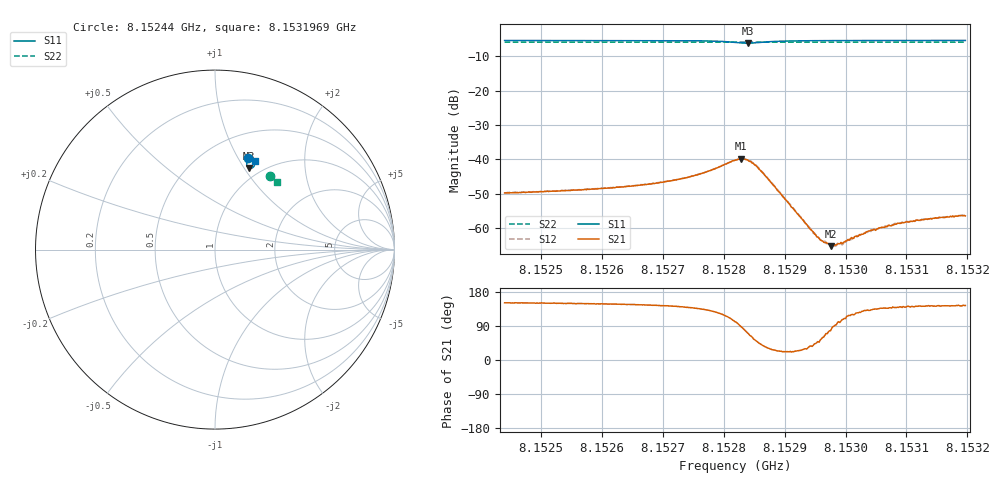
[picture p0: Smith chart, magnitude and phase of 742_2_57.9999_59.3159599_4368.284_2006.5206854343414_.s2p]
#  HZ  S  RI  R  50.00
! Rohde & Schwarz Vector Network Analyzer
! Rohde-Schwarz,ZNB20-2Port,1311601062101988,3.16
! Created: UTC 3/21/2024, 1:23:38 AM
! freq[Hz]  re:S11  im:S11  re:S21  im:S21  re:S12  im:S12  re:S22  im:S22
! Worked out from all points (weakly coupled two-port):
!   401 points, 8.15244 GHz to 8.1531969 GHz, reference 50 ohm
!   highest |S21| = -39.82 dB at 8.1528279 GHz (marker M1); lowest = -65.3 dB at 8.1529755 GHz (marker M2)
!   lowest |S11| = -6.1 dB at 8.1528393 GHz (marker M3), VSWR 2.95, Z = 43.8 + j52.7 ohm
!   |S11| at or under -10 dB: nowhere
!   |S22| runs from -5.9 to -5.8 dB; largest |S21 - S12| = 0.0003
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8.15244e9  0.1849 0.5077  -0.00283 0.00157  -0.00278 0.00162  0.3073 0.4083
8.15256679e9  0.195 0.5039  -0.00305 0.00184  -0.00307 0.0019  0.314 0.4032
8.15265005e9  0.2024 0.5003  -0.0034 0.00226  -0.00339 0.00233  0.3181 0.3997
8.15269357e9  0.207 0.4976  -0.00366 0.00267  -0.00364 0.00277  0.3202 0.398
8.15272574e9  0.2111 0.4946  -0.00396 0.00319  -0.00392 0.00327  0.3218 0.3967
8.15275981e9  0.2161 0.4891  -0.00433 0.00425  -0.00431 0.00429  0.3234 0.3949
8.15281847e9  0.2135 0.4596  -0.00189 0.00951  -0.00193 0.00953  0.3256 0.3916
8.15282793e9  0.2041 0.4543  0.000212 0.0102  0.000254 0.0101  0.3256 0.3914
8.15283928e9  0.1895 0.4554  0.00314 0.00928  0.00319 0.00938  0.3258 0.3909
8.15284875e9  0.1802 0.4634  0.00487 0.00716  0.00484 0.00734  0.3259 0.391
8.15286199e9  0.1768 0.477  0.00505 0.00425  0.00519 0.00436  0.3266 0.3911
8.15294525e9  0.1996 0.4978  0.000733 0.00053  0.000729 0.000537  0.3315 0.3881
8.15296039e9  0.2023 0.4979  0.000367 0.000538  0.000418 0.000503  0.3323 0.3874
8.15297553e9  0.2046 0.4977  0.000121 0.000532  0.000102 0.00053  0.333 0.3867
8.15298499e9  0.206 0.4975  -2.89e-05 0.000565  -1.33e-05 0.000548  0.3335 0.3864
8.15299635e9  0.2074 0.4972  -0.000184 0.000579  -0.000167 0.00056  0.3341 0.3859
8.15300202e9  0.2081 0.4972  -0.000277 0.000583  -0.000217 0.000609  0.3344 0.3855
8.15303798e9  0.2121 0.4962  -0.00059 0.000679  -0.000551 0.000681  0.3361 0.384
8.15307204e9  0.2155 0.4953  -0.000805 0.000732  -0.000775 0.000761  0.3378 0.3826
8.15311935e9  0.2196 0.494  -0.00101 0.000795  -0.000986 0.000814  0.3399 0.3805
8.15316666e9  0.2234 0.4925  -0.00116 0.000873  -0.00116 0.000868  0.3421 0.3784
8.15319693e9  0.2256 0.4917  -0.0012 0.000878  -0.0012 0.000905  0.3437 0.3771
